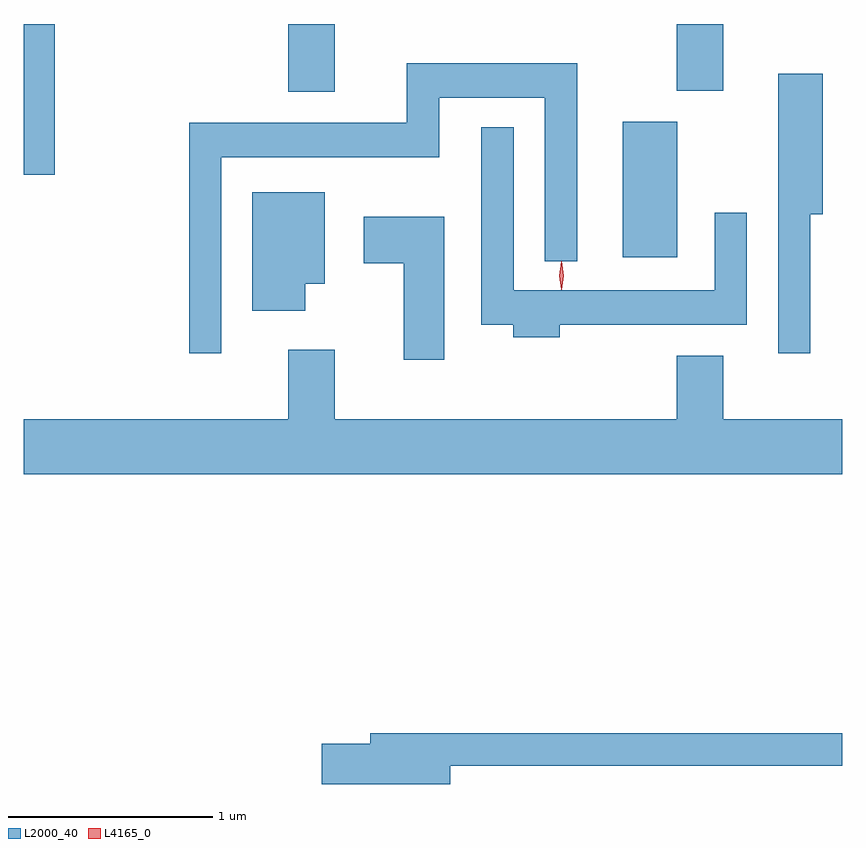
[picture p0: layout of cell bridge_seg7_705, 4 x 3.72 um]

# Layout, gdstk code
import gdstk
lib = gdstk.Library(unit=1e-6, precision=1e-09)
def R(c, l, rs):  # rectangles x0, y0, x1, y1
    for r in rs: c.add(gdstk.rectangle(r[:2], r[2:], *l))
def P(c, l, *ps):  # polygons
    for p in ps: c.add(gdstk.Polygon(p, *l))
L2000_40 = (2000, 40)
L4165_0 = (4165, 0)

bridge_seg7_705 = lib.new_cell('bridge_seg7_705')
R(bridge_seg7_705, L2000_40, [(608.196,1739.796,608.464,1740.459), (605.269,1740.201,605.419,1740.937), (606.561,1740.606,606.789,1740.937), (608.461,1740.611,608.689,1740.937)])
P(bridge_seg7_705, L2000_40, [(606.234,1740.286),(607.299,1740.286),(607.299,1740.576),(607.816,1740.576),(607.816,1739.778),(607.974,1739.778),(607.974,1740.744),(607.141,1740.744),(607.141,1740.454),(606.076,1740.454),(606.076,1739.328),(606.234,1739.328)],
  [(609.114,1740.006),(609.174,1740.006),(609.174,1740.694),(608.956,1740.694),(608.956,1739.328),(609.114,1739.328)],
  [(607.889,1739.466),(608.804,1739.466),(608.804,1740.013),(608.646,1740.013),(608.646,1739.634),(607.664,1739.634),(607.664,1740.433),(607.506,1740.433),(607.506,1739.466),(607.661,1739.466),(607.661,1739.406),(607.889,1739.406)],
  [(606.644,1739.666),(606.739,1739.666),(606.739,1740.114),(606.386,1740.114),(606.386,1739.536),(606.644,1739.536)],
  [(607.324,1739.994),(606.931,1739.994),(606.931,1739.766),(607.126,1739.766),(607.126,1739.296),(607.324,1739.296)],
  [(609.269,1739.004),(608.689,1739.004),(608.689,1739.314),(608.461,1739.314),(608.461,1739.004),(606.789,1739.004),(606.789,1739.344),(606.561,1739.344),(606.561,1739.004),(605.269,1739.004),(605.269,1738.736),(609.269,1738.736)],
  [(607.354,1737.311),(609.269,1737.311),(609.269,1737.469),(606.961,1737.469),(606.961,1737.419),(606.726,1737.419),(606.726,1737.221),(607.354,1737.221)])
P(bridge_seg7_705, L4165_0, [(607.897,1739.637),(607.888,1739.707),(607.897,1739.776),(607.898,1739.776),(607.898,1739.776),(607.908,1739.707),(607.898,1739.637),(607.898,1739.637)],
  [(607.896,1739.639),(607.896,1739.64),(607.886,1739.706),(607.896,1739.772),(607.896,1739.773),(607.897,1739.772),(607.906,1739.706),(607.897,1739.64)])

lib.write_gds('bridge_seg7_705.gds')
